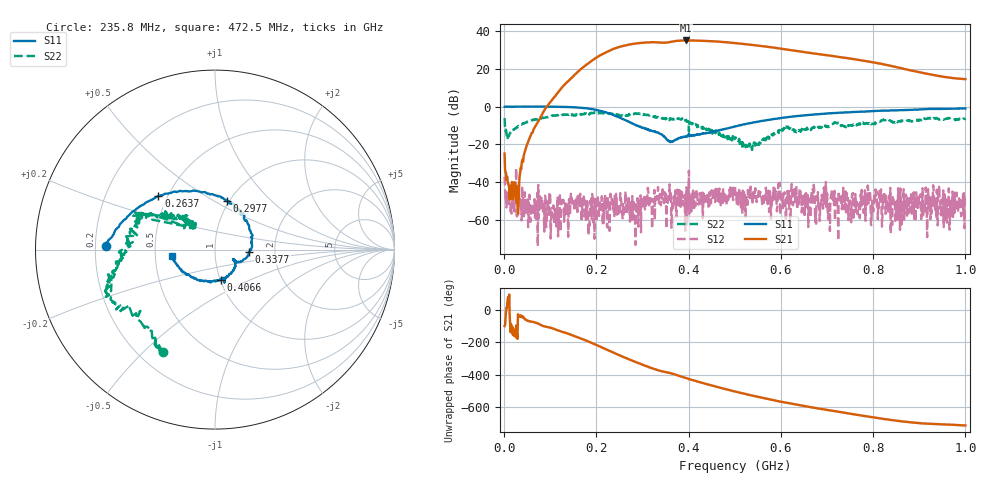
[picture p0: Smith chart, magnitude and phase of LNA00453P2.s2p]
! Created with skrf 1.9.0 (http://scikit-rf.org).
# Hz S RI R 50.0
!freq ReS11 ImS11 ReS21 ImS21 ReS12 ImS12 ReS22 ImS22
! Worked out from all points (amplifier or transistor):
!   1001 points, 1 MHz to 1 GHz, reference 50 ohm
!   highest |S21| = 35.2 dB at 394.6 MHz (marker M1)
!   |S21| within 3 dB of that: 256.5 MHz to 558.6 MHz (302.1 MHz wide, 74.1 % of centre)
!   unconditionally stable (mu >= 1): 211.9 MHz to 311.7 MHz; 311.7 MHz to 400.3 MHz; 400.8 MHz to end of sweep (the widest 3 of 32)
!   at 166.8 MHz: K = 0.59, MSG = 34.8 dB, |S12| = -49.6 dB
!   at 500.5 MHz: K = 1.36, MAG = 34.3 dB, |S12| = -41.9 dB
!   at 1 GHz: K = 3.19, MAG = 23.4 dB, |S12| = -47.9 dB
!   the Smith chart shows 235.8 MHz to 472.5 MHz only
!   S11 on the Smith chart (normalised r, x): 235.8 MHz: 0.25, +0.02; 263.7 MHz: 0.45, +0.33; 297.7 MHz: 0.98, +0.58; 337.7 MHz: 1.47, -0.03; 406.6 MHz: 1.00, -0.35; 472.5 MHz: 0.61, -0.05
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1000000  0.9865 0.0102  -0.00879 -0.056  -0.0101 0.00926  0.345 0.3546
1.08892e8  0.5299 -0.8429  -0.8412 -1.598  -0.000604 -0.000422  0.4387 -0.3772
1.67833e8  -0.2183 -0.9027  -10.31 -0.491  4.11e-05 0.000879  0.0489 -0.6297
2.06794e8  -0.6371 -0.4526  -16.25 15.78  -0.00184 -0.00174  -0.1615 -0.6571
2.35765e8  -0.6052 0.0195  -4.781 33.24  0.000221 -0.0019  -0.2919 -0.5713
2.63737e8  -0.3155 0.2987  18.98 38.07  -0.00281 0.00229  -0.4401 -0.368
2.97703e8  0.0682 0.2723  44.95 20.45  0.00209 0.00191  -0.5814 -0.2052
3.17683e8  0.1846 0.1393  51.01 3.268  0.00188 0.00297  -0.5517 -0.1139
3.34666e8  0.2011 -0.00116  49.68 -11.1  0.000132 0.00368  -0.5145 -0.0478
3.37663e8  0.1901 -0.011  48.89 -13.01  -0.00403 -0.00258  -0.5183 -0.00115
3.68632e8  0.1098 -0.0603  44.29 -32.29  -0.00176 0.00161  -0.4253 0.1597
3.94606e8  0.0771 -0.1416  28.39 -49.86  -0.00261 0.00217  -0.402 0.1984
4.06594e8  0.0307 -0.17  18.96 -54.07  -0.000872 0.00536  -0.2925 0.1991
4.37563e8  -0.117 -0.1619  -6.279 -55.31  -0.00102 0.00273  -0.1664 0.1782
4.72528e8  -0.2416 -0.0359  -27.93 -44.06  0.00379 0.00164  -0.1287 0.1381
5.005e8  -0.2732 0.1102  -39.18 -29.53  0.00642 -0.0049  -0.1324 0.0579
5.39461e8  -0.2207 0.3066  -42.64 -8.116  0.0042 -4.59e-05  -0.1035 -0.0138
5.85415e8  -0.0484 0.4667  -35.22 11.08  0.00177 -0.00248  -0.1733 -0.0569
6.67333e8  0.328 0.5125  -12.62 22.96  -0.00138 -0.00221  -0.2642 -0.0176
7.55245e8  0.6252 0.3542  3.883 18.08  0.00403 -0.00182  -0.3031 0.0781
8.34166e8  0.775 0.1418  9.034 8.541  -0.00215 0.00311  -0.4211 0.1151
1e9  0.8098 -0.3886  5.351 0.7161  -0.0026 0.00305  -0.1655 0.4509
